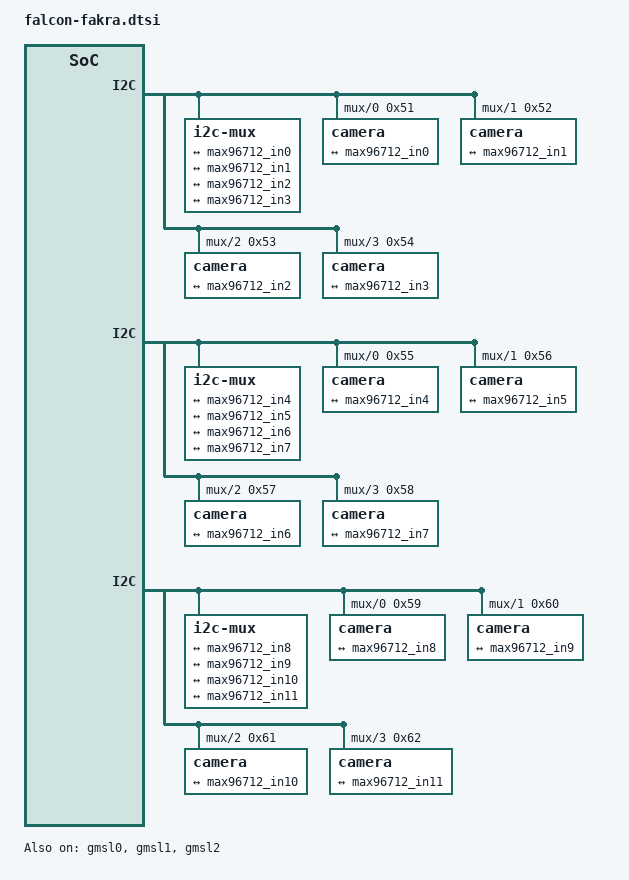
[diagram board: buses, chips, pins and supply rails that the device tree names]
// SPDX-License-Identifier: GPL-2.0+
/*
 * Device Tree Source (overlay) for the Falcon V3U FAKRA connectors
 *
 * Copyright (C) 2020 Renesas Electronics Corp.
 *
 * This overlay allows you to define cameras connected to the FAKRA connectors
 * on the Falcon-V3U (or compatible) board.
 *
 * Enable the cameras by specifying the camera compatible on the appropriate
 * line. Comment out the defines to disconnect the camera from the DTB.
 *
 * And which cameras are connected to the board by defining:
 * for GMSL2 channel 0:
 *	   #define FALCON_CAMERA_0
 *	   #define FALCON_CAMERA_1
 *	   #define FALCON_CAMERA_2
 *	   #define FALCON_CAMERA_3
 *
 * for GMSL2 channel 1:
 *	   #define FALCON_CAMERA_4
 *	   #define FALCON_CAMERA_5
 *	   #define FALCON_CAMERA_6
 *	   #define FALCON_CAMERA_7
 *
 * for GMSL2 channel 2:
 *	   #define FALCON_CAMERA_8
 *	   #define FALCON_CAMERA_9
 *	   #define FALCON_CAMERA_10
 *	   #define FALCON_CAMERA_11
 */

#include <dt-bindings/gpio/gpio.h>

#define FALCON_CAMERA_0  "dummy,camera"
#define FALCON_CAMERA_1  "dummy,camera"
#define FALCON_CAMERA_2  "dummy,camera"
#define FALCON_CAMERA_3  "dummy,camera"
#define FALCON_CAMERA_4  "dummy,camera"
#define FALCON_CAMERA_5  "dummy,camera"
#define FALCON_CAMERA_6  "dummy,camera"
#define FALCON_CAMERA_7  "dummy,camera"
#define FALCON_CAMERA_8  "dummy,camera"
#define FALCON_CAMERA_9  "dummy,camera"
#define FALCON_CAMERA_10 "dummy,camera"
#define FALCON_CAMERA_11 "dummy,camera"

/* Cameras are 'attached' to the GMSL I2C busses */
&gmsl0 {

#if defined(FALCON_CAMERA_0) || defined(FALCON_CAMERA_1) || \
    defined(FALCON_CAMERA_2) || defined(FALCON_CAMERA_3)
	status = "okay";

#endif

	ports {
#ifdef FALCON_CAMERA_0
		port@0 {
			max96712_in0: endpoint {
				remote-endpoint = <&fakra_con0>;
			};
		};
#endif

#ifdef FALCON_CAMERA_1
		port@1 {
			max96712_in1: endpoint{
				remote-endpoint = <&fakra_con1>;
			};

		};
#endif

#ifdef FALCON_CAMERA_2
		port@2 {
			max96712_in2: endpoint {
				remote-endpoint = <&fakra_con2>;
			};

		};
#endif

#ifdef FALCON_CAMERA_3
		port@3 {
			max96712_in3: endpoint {
				remote-endpoint = <&fakra_con3>;
			};

		};
#endif
	};

	i2c-mux {
		#address-cells = <1>;
		#size-cells = <0>;

#ifdef FALCON_CAMERA_0
		i2c@0 {
			#address-cells = <1>;
			#size-cells = <0>;
			reg = <0>;
			status = "okay";

			camera@51 {
				compatible = FALCON_CAMERA_0;
				reg = <0x51>;

				port {
					fakra_con0: endpoint {
						remote-endpoint = <&max96712_in0>;
					};
				};
			};
		};
#endif

#ifdef FALCON_CAMERA_1
		i2c@1 {
			#address-cells = <1>;
			#size-cells = <0>;
			reg = <1>;
			status = "okay";

			camera@52 {
				compatible = FALCON_CAMERA_1;
				reg = <0x52>;

				port {
					fakra_con1: endpoint {
						remote-endpoint = <&max96712_in1>;
					};
				};
			};
		};
#endif

#ifdef FALCON_CAMERA_2
		i2c@2 {
			#address-cells = <1>;
			#size-cells = <0>;
			reg = <2>;
			status = "okay";

			camera@53 {
				compatible = FALCON_CAMERA_2;
				reg = <0x53>;

				port {
					fakra_con2: endpoint {
						remote-endpoint = <&max96712_in2>;
					};
				};
			};
		};
#endif

#ifdef FALCON_CAMERA_3
		i2c@3 {
			#address-cells = <1>;
			#size-cells = <0>;
			reg = <3>;
			status = "okay";

			camera@54 {
				compatible = FALCON_CAMERA_3;
				reg = <0x54>;

				port {
					fakra_con3: endpoint {
						remote-endpoint = <&max96712_in3>;
					};
				};
			};
		};
#endif
	};
};

&gmsl1 {

#if defined(FALCON_CAMERA_4) || defined(FALCON_CAMERA_5) || \
    defined(FALCON_CAMERA_6) || defined(FALCON_CAMERA_7)
	status = "okay";

#endif

	ports {
#ifdef FALCON_CAMERA_4
		port@0 {
			max96712_in4: endpoint {
				remote-endpoint = <&fakra_con4>;
			};
		};
#endif

#ifdef FALCON_CAMERA_5
		port@1 {
			max96712_in5: endpoint{
				remote-endpoint = <&fakra_con5>;
			};

		};
#endif

#ifdef FALCON_CAMERA_6
		port@2 {
			max96712_in6: endpoint {
				remote-endpoint = <&fakra_con6>;
			};

		};
#endif

#ifdef FALCON_CAMERA_7
		port@3 {
			max96712_in7: endpoint {
				remote-endpoint = <&fakra_con7>;
			};

		};
#endif
	};

	i2c-mux {
		#address-cells = <1>;
		#size-cells = <0>;

#ifdef FALCON_CAMERA_4
		i2c@0 {
			#address-cells = <1>;
			#size-cells = <0>;
			reg = <0>;
			status = "okay";

			camera@55 {
				compatible = FALCON_CAMERA_4;
				reg = <0x55>;

				port {
					fakra_con4: endpoint {
						remote-endpoint = <&max96712_in4>;
					};
				};
			};
		};
#endif

#ifdef FALCON_CAMERA_5
		i2c@1 {
			#address-cells = <1>;
			#size-cells = <0>;
			reg = <1>;
			status = "okay";

			camera@56 {
				compatible = FALCON_CAMERA_5;
				reg = <0x56>;

				port {
					fakra_con5: endpoint {
						remote-endpoint = <&max96712_in5>;
					};
				};
			};
		};
#endif

#ifdef FALCON_CAMERA_6
		i2c@2 {
			#address-cells = <1>;
			#size-cells = <0>;
			reg = <2>;
			status = "okay";

			camera@57 {
				compatible = FALCON_CAMERA_6;
				reg = <0x57>;

				port {
					fakra_con6: endpoint {
						remote-endpoint = <&max96712_in6>;
					};
				};
			};
		};
#endif

#ifdef FALCON_CAMERA_7
		i2c@3 {
			#address-cells = <1>;
			#size-cells = <0>;
			reg = <3>;
			status = "okay";

			camera@58 {
				compatible = FALCON_CAMERA_7;
				reg = <0x58>;

				port {
					fakra_con7: endpoint {
						remote-endpoint = <&max96712_in7>;
					};
				};
			};
		};
#endif
	};
};

&gmsl2 {

#if defined(FALCON_CAMERA_8) || defined(FALCON_CAMERA_9) || \
    defined(FALCON_CAMERA_10) || defined(FALCON_CAMERA_11)
	status = "okay";

#endif

	ports {
#ifdef FALCON_CAMERA_8
		port@0 {
			max96712_in8: endpoint {
				remote-endpoint = <&fakra_con8>;
			};
		};
#endif

#ifdef FALCON_CAMERA_9
		port@1 {
			max96712_in9: endpoint{
				remote-endpoint = <&fakra_con9>;
			};

		};
#endif

#ifdef FALCON_CAMERA_10
		port@2 {
			max96712_in10: endpoint {
				remote-endpoint = <&fakra_con10>;
			};

		};
#endif

#ifdef FALCON_CAMERA_11
		port@3 {
			max96712_in11: endpoint {
				remote-endpoint = <&fakra_con11>;
			};

		};
#endif
	};

	i2c-mux {
		#address-cells = <1>;
		#size-cells = <0>;

#ifdef FALCON_CAMERA_8
		i2c@0 {
			#address-cells = <1>;
			#size-cells = <0>;
			reg = <0>;
			status = "okay";

			camera@59 {
				compatible = FALCON_CAMERA_8;
				reg = <0x59>;

				port {
					fakra_con8: endpoint {
						remote-endpoint = <&max96712_in8>;
					};
				};
			};
		};
#endif

#ifdef FALCON_CAMERA_9
		i2c@1 {
			#address-cells = <1>;
			#size-cells = <0>;
			reg = <1>;
			status = "okay";

			camera@60 {
				compatible = FALCON_CAMERA_9;
				reg = <0x60>;

				port {
					fakra_con9: endpoint {
						remote-endpoint = <&max96712_in9>;
					};
				};
			};
		};
#endif

#ifdef FALCON_CAMERA_10
		i2c@2 {
			#address-cells = <1>;
			#size-cells = <0>;
			reg = <2>;
			status = "okay";

			camera@61 {
				compatible = FALCON_CAMERA_10;
				reg = <0x61>;

				port {
					fakra_con10: endpoint {
						remote-endpoint = <&max96712_in10>;
					};
				};
			};
		};
#endif

#ifdef FALCON_CAMERA_11
		i2c@3 {
			#address-cells = <1>;
			#size-cells = <0>;
			reg = <3>;
			status = "okay";

			camera@62 {
				compatible = FALCON_CAMERA_11;
				reg = <0x62>;

				port {
					fakra_con11: endpoint {
						remote-endpoint = <&max96712_in11>;
					};
				};
			};
		};
#endif
	};
};
